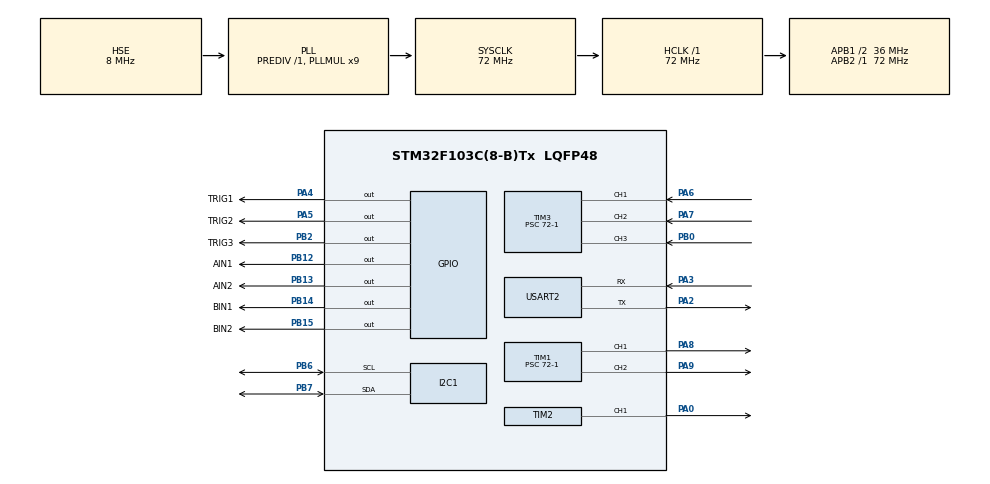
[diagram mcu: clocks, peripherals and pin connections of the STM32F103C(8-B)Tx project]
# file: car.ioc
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I2C1.I2C_Mode=I2C_Fast
Mcu.Family=STM32F1
Mcu.Name=STM32F103C(8-B)Tx
Mcu.Package=LQFP48
NVIC.PriorityGroup=NVIC_PRIORITYGROUP_4
NVIC.TIM3_IRQn=true\:0\:0\:false\:false\:true\:true\:true\:true
PA0-WKUP.Signal=S_TIM2_CH1_ETR
PA13.Mode=Serial_Wire
PA13.Signal=SYS_JTMS-SWDIO
PA14.Mode=Serial_Wire
PA14.Signal=SYS_JTCK-SWCLK
PA2.Mode=Asynchronous
PA2.Signal=USART2_TX
PA3.Mode=Asynchronous
PA3.Signal=USART2_RX
PA4.GPIO_Label=TRIG1
PA4.Signal=GPIO_Output
PA5.GPIO_Label=TRIG2
PA5.Signal=GPIO_Output
PA6.Signal=S_TIM3_CH1
PA7.Signal=S_TIM3_CH2
PA8.Signal=S_TIM1_CH1
PA9.Signal=S_TIM1_CH2
PB0.Signal=S_TIM3_CH3
PB12.GPIO_Label=AIN1
PB12.GPIO_ModeDefaultOutputPP=GPIO_MODE_OUTPUT_PP
PB12.GPIO_PuPd=GPIO_PULLDOWN
PB12.PinState=GPIO_PIN_RESET
PB12.Signal=GPIO_Output
PB13.GPIO_Label=AIN2
PB13.GPIO_ModeDefaultOutputPP=GPIO_MODE_OUTPUT_PP
PB13.GPIO_PuPd=GPIO_PULLDOWN
PB13.PinState=GPIO_PIN_RESET
PB13.Signal=GPIO_Output
PB14.GPIO_Label=BIN1
PB14.GPIO_ModeDefaultOutputPP=GPIO_MODE_OUTPUT_PP
PB14.GPIO_PuPd=GPIO_PULLDOWN
PB14.PinState=GPIO_PIN_RESET
PB14.Signal=GPIO_Output
PB15.GPIO_Label=BIN2
PB15.GPIO_ModeDefaultOutputPP=GPIO_MODE_OUTPUT_PP
PB15.GPIO_PuPd=GPIO_PULLDOWN
PB15.PinState=GPIO_PIN_RESET
PB15.Signal=GPIO_Output
PB2.GPIO_Label=TRIG3
PB2.Signal=GPIO_Output
PB6.Mode=I2C
PB6.Signal=I2C1_SCL
PB7.Mode=I2C
PB7.Signal=I2C1_SDA
PC14-OSC32_IN.Mode=LSE-External-Oscillator
PC14-OSC32_IN.Signal=RCC_OSC32_IN
PC15-OSC32_OUT.Mode=LSE-External-Oscillator
PC15-OSC32_OUT.Signal=RCC_OSC32_OUT
PD0-OSC_IN.Mode=HSE-External-Oscillator
PD0-OSC_IN.Signal=RCC_OSC_IN
PD1-OSC_OUT.Mode=HSE-External-Oscillator
PD1-OSC_OUT.Signal=RCC_OSC_OUT
ProjectManager.HeapSize=0x200
ProjectManager.StackSize=0x400
ProjectManager.TargetToolchain=MDK-ARM V5.32
RCC.AHBFreq_Value=72000000
RCC.APB1CLKDivider=RCC_HCLK_DIV2
RCC.APB1Freq_Value=36000000
RCC.APB1TimFreq_Value=72000000
RCC.APB2Freq_Value=72000000
RCC.APB2TimFreq_Value=72000000
RCC.HCLKFreq_Value=72000000
RCC.PLLMUL=RCC_PLL_MUL9
RCC.PLLSourceVirtual=RCC_PLLSOURCE_HSE
RCC.SYSCLKFreq_VALUE=72000000
RCC.SYSCLKSource=RCC_SYSCLKSOURCE_PLLCLK
RCC.USBFreq_Value=72000000
SH.S_TIM1_CH1.0=TIM1_CH1,PWM Generation1 CH1
SH.S_TIM1_CH2.0=TIM1_CH2,PWM Generation2 CH2
SH.S_TIM2_CH1_ETR.0=TIM2_CH1,PWM Generation1 CH1
SH.S_TIM3_CH1.0=TIM3_CH1,Input_Capture1_from_TI1
SH.S_TIM3_CH2.0=TIM3_CH2,Input_Capture2_from_TI2
SH.S_TIM3_CH3.0=TIM3_CH3,Input_Capture3_from_TI3
TIM1.AutoReloadPreload=TIM_AUTORELOAD_PRELOAD_ENABLE
TIM1.Channel-PWM\ Generation1\ CH1=TIM_CHANNEL_1
TIM1.Channel-PWM\ Generation2\ CH2=TIM_CHANNEL_2
TIM1.Period=1000-1
TIM1.Prescaler=72-1
TIM2.AutoReloadPreload=TIM_AUTORELOAD_PRELOAD_ENABLE
TIM2.Channel-PWM\ Generation1\ CH1=TIM_CHANNEL_1
TIM2.Period=20000-1
TIM2.Prescaler=72-1
TIM3.AutoReloadPreload=TIM_AUTORELOAD_PRELOAD_ENABLE
TIM3.Channel-Input_Capture1_from_TI1=TIM_CHANNEL_1
TIM3.Channel-Input_Capture2_from_TI2=TIM_CHANNEL_2
TIM3.Channel-Input_Capture3_from_TI3=TIM_CHANNEL_3
TIM3.ICPolarity_CH1=TIM_INPUTCHANNELPOLARITY_RISING
TIM3.Prescaler=72-1
USART2.VirtualMode=VM_ASYNC
VP_TIM3_VS_ClockSourceINT.Mode=Internal
board=custom

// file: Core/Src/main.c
/* USER CODE BEGIN Header */
/**
  ******************************************************************************
  * @file           : main.c
  * @brief          : Main program body
  ******************************************************************************
  * @attention
  *
  * Copyright (c) 2026 STMicroelectronics.
  * All rights reserved.
  *
  * This software is licensed under terms that can be found in the LICENSE file
  * in the root directory of this software component.
  * If no LICENSE file comes with this software, it is provided AS-IS.
  *
  ******************************************************************************
  */
/* USER CODE END Header */
#include "main.h"
#include "i2c.h"
#include "tim.h"
#include "usart.h"
#include "gpio.h"

/* USER CODE BEGIN Includes */
#include <stdio.h>
#include "app.h"
#include "motor.h"
#include "servo.h"
#include "ultrasonic.h"
#include "oled.h"
#include "font.h"
#include "string.h"
/* USER CODE END Includes */

/* USER CODE BEGIN PM */
void HAL_TIM_IC_CaptureCallback(TIM_HandleTypeDef *htim);
/* USER CODE END PM */

/* USER CODE BEGIN PV */
char buf[20];
char str[30];
int upEdge = 0;
int downEdge = 0;
volatile float distance = 0;
volatile uint32_t g_distance_time;
volatile float g_distance = 0;

uint32_t out_time=0;
uint8_t out_flg=0;
/* USER CODE END PV */

void SystemClock_Config(void);

int main(void)
{

  /* MCU Configuration--------------------------------------------------------*/

  /* Reset of all peripherals, Initializes the Flash interface and the Systick. */
  HAL_Init();

  /* Configure the system clock */
  SystemClock_Config();

  /* Initialize all configured peripherals */
  MX_GPIO_Init();
  MX_TIM1_Init();
  MX_TIM2_Init();
  MX_TIM3_Init();
  MX_I2C1_Init();
  MX_USART2_UART_Init();
  /* USER CODE BEGIN 2 */
	// 电机 PWM
	HAL_TIM_PWM_Start(&htim1, TIM_CHANNEL_1);
	HAL_TIM_PWM_Start(&htim1, TIM_CHANNEL_2);

	// 舵机 PWM
	HAL_TIM_PWM_Start(&htim2, TIM_CHANNEL_1);

	// 超声波 输入捕获
	HAL_TIM_Base_Start(&htim3);
	HAL_TIM_IC_Start_IT(&htim3, TIM_CHANNEL_1);
	HAL_TIM_IC_Start_IT(&htim3, TIM_CHANNEL_2);
	HAL_TIM_IC_Start_IT(&htim3, TIM_CHANNEL_3);

	//App初始化
	App_Init();
	//oled初始化
	HAL_Delay(100);              // 等待 OLED 上电稳定
	OLED_Init();                 // 初始化 OLED 显示屏
	OLED_DisPlay_On();
	         // 打开显示（可选，默认 OLED_Init 已打开）

  /* USER CODE END 2 */

  /* Infinite loop */
  /* USER CODE BEGIN WHILE */
  while (1)
  {
		/*if(HAL_GetTick() - tim >500)
		{
			if(angle<180){
				Servo_SetAngle(angle);
				angle+=90;
			}else{
				Servo_SetAngle(angle);
				angle = 0;
			}
			tim = HAL_GetTick();
		}*/
		Ultrasonic_Trig();
    __HAL_TIM_SET_COUNTER(&htim3, 0);
    float dist = Ultrasonic_GetDistance_Filtered();
		OLED_NewFrame();

		sprintf(str, "%.3f", dist);
    OLED_PrintString(0, 0, str, &font16x16, OLED_COLOR_NORMAL);
		sprintf(str, "%d", out_flg);
    OLED_PrintString(0, 50, str, &font16x16, OLED_COLOR_NORMAL);
		sprintf(str, "%d", g_distance_time);
    OLED_PrintString(0, 25, str, &font16x16, OLED_COLOR_NORMAL);
    OLED_ShowFrame();

		App_Update(dist);
    /* USER CODE END WHILE */

  }
}

void SystemClock_Config(void)
{
  RCC_OscInitTypeDef RCC_OscInitStruct = {0};
  RCC_ClkInitTypeDef RCC_ClkInitStruct = {0};

  /** Initializes the RCC Oscillators according to the specified parameters
  * in the RCC_OscInitTypeDef structure.
  */
  RCC_OscInitStruct.OscillatorType = RCC_OSCILLATORTYPE_HSE;
  RCC_OscInitStruct.HSEState = RCC_HSE_ON;
  RCC_OscInitStruct.HSEPredivValue = RCC_HSE_PREDIV_DIV1;
  RCC_OscInitStruct.HSIState = RCC_HSI_ON;
  RCC_OscInitStruct.PLL.PLLState = RCC_PLL_ON;
  RCC_OscInitStruct.PLL.PLLSource = RCC_PLLSOURCE_HSE;
  RCC_OscInitStruct.PLL.PLLMUL = RCC_PLL_MUL9;
  if (HAL_RCC_OscConfig(&RCC_OscInitStruct) != HAL_OK)
  {
    Error_Handler();
  }

  /** Initializes the CPU, AHB and APB buses clocks
  */
  RCC_ClkInitStruct.ClockType = RCC_CLOCKTYPE_HCLK|RCC_CLOCKTYPE_SYSCLK
                              |RCC_CLOCKTYPE_PCLK1|RCC_CLOCKTYPE_PCLK2;
  RCC_ClkInitStruct.SYSCLKSource = RCC_SYSCLKSOURCE_PLLCLK;
  RCC_ClkInitStruct.AHBCLKDivider = RCC_SYSCLK_DIV1;
  RCC_ClkInitStruct.APB1CLKDivider = RCC_HCLK_DIV2;
  RCC_ClkInitStruct.APB2CLKDivider = RCC_HCLK_DIV1;

  if (HAL_RCC_ClockConfig(&RCC_ClkInitStruct, FLASH_LATENCY_2) != HAL_OK)
  {
    Error_Handler();
  }
}

/* USER CODE BEGIN 4 */
void HAL_TIM_IC_CaptureCallback(TIM_HandleTypeDef *htim)
{
    if(htim == &htim3)
    {
        upEdge = HAL_TIM_ReadCapturedValue(htim, TIM_CHANNEL_2);
        downEdge = HAL_TIM_ReadCapturedValue(htim, TIM_CHANNEL_1);

				distance = ((downEdge - upEdge)*0.034)/2;
				g_distance = distance;
        g_distance_time = HAL_GetTick();
    }
}
/* USER CODE END 4 */

void Error_Handler(void)
{
  __disable_irq();
  while (1)
  {
  }
}
